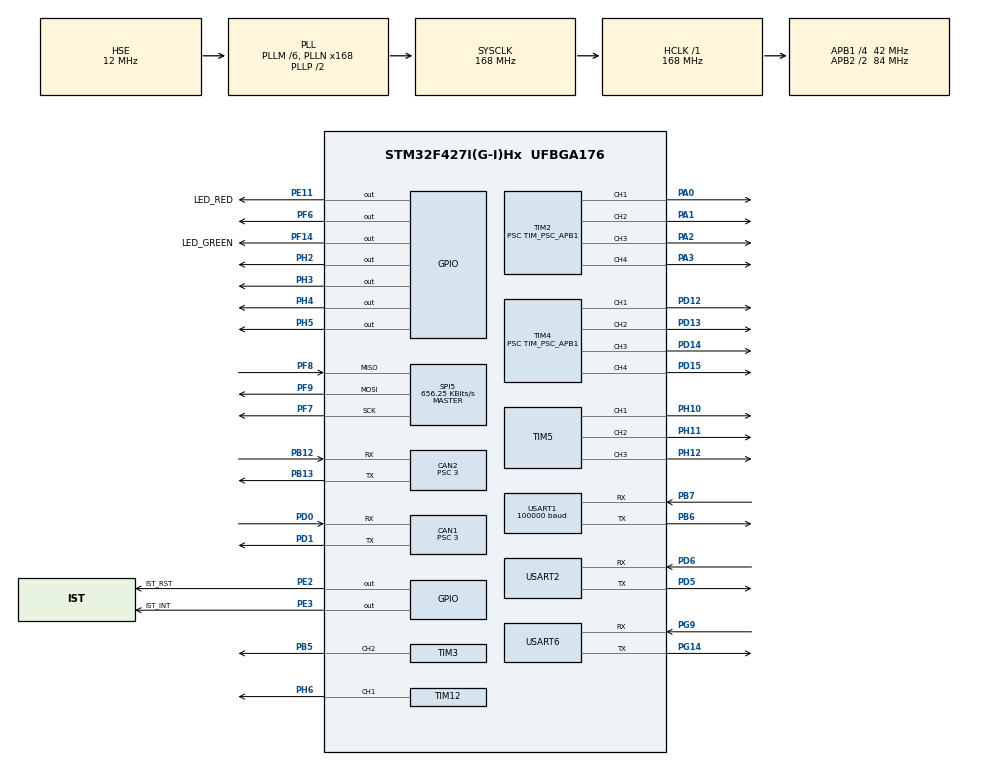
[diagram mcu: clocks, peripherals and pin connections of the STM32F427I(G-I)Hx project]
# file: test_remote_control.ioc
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CAN1.BS1=CAN_BS1_9TQ
CAN1.BS2=CAN_BS2_4TQ
CAN1.CalculateTimeQuantum=71.42857142857143
CAN1.Prescaler=3
CAN2.BS1=CAN_BS1_9TQ
CAN2.BS2=CAN_BS2_4TQ
CAN2.CalculateTimeQuantum=71.42857142857143
CAN2.Prescaler=3
Dma.Request0=USART1_RX
Dma.Request1=USART2_RX
Dma.Request2=USART2_TX
Dma.USART1_RX.0.Direction=DMA_PERIPH_TO_MEMORY
Dma.USART1_RX.0.FIFOMode=DMA_FIFOMODE_DISABLE
Dma.USART1_RX.0.Instance=DMA2_Stream2
Dma.USART1_RX.0.MemDataAlignment=DMA_MDATAALIGN_BYTE
Dma.USART1_RX.0.MemInc=DMA_MINC_ENABLE
Dma.USART1_RX.0.Mode=DMA_CIRCULAR
Dma.USART1_RX.0.PeriphDataAlignment=DMA_PDATAALIGN_BYTE
Dma.USART1_RX.0.PeriphInc=DMA_PINC_DISABLE
Dma.USART1_RX.0.Priority=DMA_PRIORITY_VERY_HIGH
Dma.USART2_RX.1.Direction=DMA_PERIPH_TO_MEMORY
Dma.USART2_RX.1.FIFOMode=DMA_FIFOMODE_DISABLE
Dma.USART2_RX.1.Instance=DMA1_Stream5
Dma.USART2_RX.1.MemDataAlignment=DMA_MDATAALIGN_BYTE
Dma.USART2_RX.1.MemInc=DMA_MINC_ENABLE
Dma.USART2_RX.1.Mode=DMA_NORMAL
Dma.USART2_RX.1.PeriphDataAlignment=DMA_PDATAALIGN_BYTE
Dma.USART2_RX.1.PeriphInc=DMA_PINC_DISABLE
Dma.USART2_RX.1.Priority=DMA_PRIORITY_LOW
Dma.USART2_TX.2.Direction=DMA_MEMORY_TO_PERIPH
Dma.USART2_TX.2.FIFOMode=DMA_FIFOMODE_DISABLE
Dma.USART2_TX.2.Instance=DMA1_Stream6
Dma.USART2_TX.2.MemDataAlignment=DMA_MDATAALIGN_BYTE
Dma.USART2_TX.2.MemInc=DMA_MINC_ENABLE
Dma.USART2_TX.2.Mode=DMA_NORMAL
Dma.USART2_TX.2.PeriphDataAlignment=DMA_PDATAALIGN_BYTE
Dma.USART2_TX.2.PeriphInc=DMA_PINC_DISABLE
Dma.USART2_TX.2.Priority=DMA_PRIORITY_LOW
Mcu.Family=STM32F4
Mcu.Name=STM32F427I(G-I)Hx
Mcu.Package=UFBGA176
Mcu.UserConstants=APB1_TIMER_CLOCKS,84000000;APB2_TIMER_CLOCKS,168000000;PWM_FREQUENCE,50;PWM_RESOLUTION,10000;PWM_DEFAULT_DUTY,1000;TIM_PSC_APB1,((APB1_TIMER_CLOCKS/PWM_FREQUENCE)/PWM_RESOLUTION -1);TIM_PSC_APB2,((APB2_TIMER_CLOCKS/PWM_FREQUENCE)/PWM_RESOLUTION -1)
NVIC.CAN1_RX0_IRQn=true\:0\:0\:false\:false\:true\:true\:true
NVIC.CAN1_TX_IRQn=true\:0\:0\:false\:false\:true\:true\:true
NVIC.CAN2_RX0_IRQn=true\:0\:0\:false\:false\:true\:true\:true
NVIC.CAN2_TX_IRQn=true\:0\:0\:false\:false\:true\:true\:true
NVIC.DMA1_Stream5_IRQn=true\:0\:0\:false\:false\:true\:false\:true
NVIC.DMA1_Stream6_IRQn=true\:0\:0\:false\:false\:true\:false\:true
NVIC.DMA2_Stream2_IRQn=true\:0\:0\:false\:false\:true\:false\:true
NVIC.PriorityGroup=NVIC_PRIORITYGROUP_4
NVIC.USART1_IRQn=true\:0\:0\:false\:false\:true\:true\:true
NVIC.USART2_IRQn=true\:0\:0\:false\:false\:true\:true\:true
NVIC.USART6_IRQn=true\:0\:0\:false\:false\:true\:true\:true
PA0/WKUP.Signal=S_TIM2_CH1_ETR
PA1.Signal=S_TIM2_CH2
PA13.Mode=Serial_Wire
PA13.Signal=SYS_JTMS-SWDIO
PA14.Mode=Serial_Wire
PA14.Signal=SYS_JTCK-SWCLK
PA2.Signal=S_TIM2_CH3
PA3.Signal=S_TIM2_CH4
PB12.Mode=Slave
PB12.Signal=CAN2_RX
PB13.Mode=Slave
PB13.Signal=CAN2_TX
PB5.Signal=S_TIM3_CH2
PB6.Mode=Asynchronous
PB6.Signal=USART1_TX
PB7.Mode=Asynchronous
PB7.Signal=USART1_RX
PD0.Mode=Master
PD0.Signal=CAN1_RX
PD1.Mode=Master
PD1.Signal=CAN1_TX
PD12.Signal=S_TIM4_CH1
PD13.Signal=S_TIM4_CH2
PD14.Signal=S_TIM4_CH3
PD15.Signal=S_TIM4_CH4
PD5.Mode=Asynchronous
PD5.Signal=USART2_TX
PD6.Mode=Asynchronous
PD6.Signal=USART2_RX
PE11.GPIO_Label=LED_RED
PE11.Signal=GPIO_Output
PE2.GPIO_Label=IST_RST
PE2.GPIO_Speed=GPIO_SPEED_FREQ_VERY_HIGH
PE2.Signal=GPIO_Output
PE3.GPIO_Label=IST_INT
PE3.GPIO_Speed=GPIO_SPEED_FREQ_VERY_HIGH
PE3.Signal=GPIO_Output
PF14.GPIO_Label=LED_GREEN
PF14.Signal=GPIO_Output
PF6.Signal=GPIO_Output
PF7.Mode=Full_Duplex_Master
PF7.Signal=SPI5_SCK
PF8.Mode=Full_Duplex_Master
PF8.Signal=SPI5_MISO
PF9.Mode=Full_Duplex_Master
PF9.Signal=SPI5_MOSI
PG14.Mode=Asynchronous
PG14.Signal=USART6_TX
PG9.Mode=Asynchronous
PG9.Signal=USART6_RX
PH0/OSC_IN.Mode=HSE-External-Oscillator
PH0/OSC_IN.Signal=RCC_OSC_IN
PH1/OSC_OUT.Mode=HSE-External-Oscillator
PH1/OSC_OUT.Signal=RCC_OSC_OUT
PH10.Signal=S_TIM5_CH1
PH11.Signal=S_TIM5_CH2
PH12.Signal=S_TIM5_CH3
PH2.Signal=GPIO_Output
PH3.Signal=GPIO_Output
PH4.Signal=GPIO_Output
PH5.Signal=GPIO_Output
PH6.Signal=S_TIM12_CH1
ProjectManager.HeapSize=0x200
ProjectManager.StackSize=0x400
ProjectManager.TargetToolchain=STM32CubeIDE
RCC.48MHZClocksFreq_Value=84000000
RCC.AHBFreq_Value=168000000
RCC.APB1CLKDivider=RCC_HCLK_DIV4
RCC.APB1Freq_Value=42000000
RCC.APB1TimFreq_Value=84000000
RCC.APB2CLKDivider=RCC_HCLK_DIV2
RCC.APB2Freq_Value=84000000
RCC.APB2TimFreq_Value=168000000
RCC.CortexFreq_Value=168000000
RCC.HCLKFreq_Value=168000000
RCC.HSE_VALUE=12000000
RCC.HSI_VALUE=16000000
RCC.LSE_VALUE=32768
RCC.PLLM=6
RCC.PLLN=168
RCC.PLLSourceVirtual=RCC_PLLSOURCE_HSE
RCC.SYSCLKFreq_VALUE=168000000
RCC.SYSCLKSource=RCC_SYSCLKSOURCE_PLLCLK
RCC.VCOOutputFreq_Value=336000000
SH.S_TIM12_CH1.0=TIM12_CH1,PWM Generation1 CH1
SH.S_TIM2_CH1_ETR.0=TIM2_CH1,PWM Generation1 CH1
SH.S_TIM2_CH2.0=TIM2_CH2,PWM Generation2 CH2
SH.S_TIM2_CH3.0=TIM2_CH3,PWM Generation3 CH3
SH.S_TIM2_CH4.0=TIM2_CH4,PWM Generation4 CH4
SH.S_TIM3_CH2.0=TIM3_CH2,PWM Generation2 CH2
SH.S_TIM4_CH1.0=TIM4_CH1,PWM Generation1 CH1
SH.S_TIM4_CH2.0=TIM4_CH2,PWM Generation2 CH2
SH.S_TIM4_CH3.0=TIM4_CH3,PWM Generation3 CH3
SH.S_TIM4_CH4.0=TIM4_CH4,PWM Generation4 CH4
SH.S_TIM5_CH1.0=TIM5_CH1,PWM Generation1 CH1
SH.S_TIM5_CH2.0=TIM5_CH2,PWM Generation2 CH2
SH.S_TIM5_CH3.0=TIM5_CH3,PWM Generation3 CH3
SPI5.BaudRatePrescaler=SPI_BAUDRATEPRESCALER_128
SPI5.CalculateBaudRate=656.25 KBits/s
SPI5.Direction=SPI_DIRECTION_2LINES
SPI5.Mode=SPI_MODE_MASTER
SPI5.VirtualType=VM_MASTER
TIM12.Channel-PWM\ Generation1\ CH1=TIM_CHANNEL_1
TIM12.Period=7777
TIM12.Prescaler=3
TIM2.Channel-PWM\ Generation1\ CH1=TIM_CHANNEL_1
TIM2.Channel-PWM\ Generation2\ CH2=TIM_CHANNEL_2
TIM2.Channel-PWM\ Generation3\ CH3=TIM_CHANNEL_3
TIM2.Channel-PWM\ Generation4\ CH4=TIM_CHANNEL_4
TIM2.Period=PWM_RESOLUTION-1
TIM2.Prescaler=TIM_PSC_APB1
TIM2.Pulse-PWM\ Generation1\ CH1=PWM_DEFAULT_DUTY
TIM2.Pulse-PWM\ Generation2\ CH2=PWM_DEFAULT_DUTY
TIM2.Pulse-PWM\ Generation3\ CH3=PWM_DEFAULT_DUTY
TIM2.Pulse-PWM\ Generation4\ CH4=PWM_DEFAULT_DUTY
TIM3.Channel-PWM\ Generation2\ CH2=TIM_CHANNEL_2
TIM3.Period=4999
TIM3.Prescaler=0
TIM4.Channel-PWM\ Generation1\ CH1=TIM_CHANNEL_1
TIM4.Channel-PWM\ Generation2\ CH2=TIM_CHANNEL_2
TIM4.Channel-PWM\ Generation3\ CH3=TIM_CHANNEL_3
TIM4.Channel-PWM\ Generation4\ CH4=TIM_CHANNEL_4
TIM4.OCMode_PWM-PWM\ Generation4\ CH4=TIM_OCMODE_PWM1
TIM4.Period=PWM_RESOLUTION-1
TIM4.Prescaler=TIM_PSC_APB1
TIM4.Pulse-PWM\ Generation1\ CH1=PWM_DEFAULT_DUTY
TIM4.Pulse-PWM\ Generation2\ CH2=PWM_DEFAULT_DUTY
TIM4.Pulse-PWM\ Generation3\ CH3=PWM_DEFAULT_DUTY
TIM4.Pulse-PWM\ Generation4\ CH4=PWM_DEFAULT_DUTY
TIM5.Channel-PWM\ Generation1\ CH1=TIM_CHANNEL_1
TIM5.Channel-PWM\ Generation2\ CH2=TIM_CHANNEL_2
TIM5.Channel-PWM\ Generation3\ CH3=TIM_CHANNEL_3
USART1.BaudRate=100000
USART1.Parity=PARITY_EVEN
USART1.VirtualMode=VM_ASYNC
USART2.VirtualMode=VM_ASYNC
USART6.VirtualMode=VM_ASYNC
board=custom

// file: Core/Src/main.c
/* USER CODE BEGIN Header */
/**
  ******************************************************************************
  * @file           : main.c
  * @brief          : Main program body
  ******************************************************************************
  * @attention
  *
  * <h2><center>&copy; Copyright (c) 2020 STMicroelectronics.
  * All rights reserved.</center></h2>
  *
  * This software component is licensed by ST under BSD 3-Clause license,
  * the "License"; You may not use this file except in compliance with the
  * License. You may obtain a copy of the License at:
  *                        opensource.org/licenses/BSD-3-Clause
  *
  ******************************************************************************
  */
/* USER CODE END Header */
#include "main.h"

/* USER CODE BEGIN Includes */
#include <stdlib.h>
#include <stdio.h>
#include <math.h>
#include <unistd.h>
#include <time.h>
#include "rm_uart.h"
#include "rm_gpio.h"
#include "rm_can.h"
#include "rm_imu.h"
#include "rm_pwm.h"
#include "rm_ctrl.h"

/* USER CODE END Includes */

/* USER CODE BEGIN PD */
#define INF_2
//#define SENTRY

// default positions
//#define YAW_ECD_DEFAULT (6115)
//#define PIT_ECD_DEFAULT (5350)
#define YAW_ECD_DEFAULT (291)
#define PIT_ECD_DEFAULT (3056)
#define INDEXER_SPEED_DEFAULT 125
#define INIT_TIMER_VALUE 15000
#define YAW_OSCILLATION 750
#define PIT_OSCILLATION 1000
#define PIXEL_TO_ESC 1000

#define DRIVE_LF_ID 1
#define DRIVE_LB_ID 2
#define DRIVE_RF_ID 3
#define DRIVE_RB_ID 4
#define RPM_SCALE 10
#define JOY_TO_RPM (1 / 660.0f) // max 660, 660 / 660.0f = 1 rpm
#define JOY_TO_ECD (4096 / 660.0f) // max 660, 660 * (4096 / 660.0f = 4096
#define DRIVE_SPEED_DEFAULT 450 // 450 rpm
#define FLYWHEEL_OFF_PERCENT (0.4f)
#define FLYWHEEL_ON_PERCENT (0.417f)
#define MOTOR_BOUNDS 4500
#define GIMBAL_RPM_LIMIT 3200

#define DELAY_MS 5
#define PI 3.14159265f

/* USER CODE END PD */

CAN_HandleTypeDef hcan1;
CAN_HandleTypeDef hcan2;

SPI_HandleTypeDef hspi5;

TIM_HandleTypeDef htim2;
TIM_HandleTypeDef htim3;
TIM_HandleTypeDef htim4;
TIM_HandleTypeDef htim5;
TIM_HandleTypeDef htim12;

UART_HandleTypeDef huart1;
UART_HandleTypeDef huart2;
UART_HandleTypeDef huart6;
DMA_HandleTypeDef hdma_usart1_rx;
DMA_HandleTypeDef hdma_usart2_rx;
DMA_HandleTypeDef hdma_usart2_tx;

/* USER CODE BEGIN PV */
char buf[200];
int count;

double minDistance, maxDistance, centerDistance;
unsigned long start_t, current_t, currentCount;

short sentryInit = 0;
short timerInit = 0;
short cvDetected = 0;

double cvX, cvY;
typedef struct {
	struct {
		short LF_rpm,LB_rpm,RF_rpm,RB_rpm;
	} chassis;
	struct {
		short yaw_ecd, pitch_ecd;
		short yaw_rpm, pit_rpm;
		short flywheel_speed;
		float indexer_speed;
		short yaw_ecd_target;
		short pit_ecd_target;
	} gimbal;
	short isKB;
} signal_t;
float radian;
float x;
float y;

signal_t signal;

float imu_yaw_offset = 0;
/* USER CODE END PV */

void SystemClock_Config(void);
static void MX_GPIO_Init(void);
static void MX_DMA_Init(void);
static void MX_CAN1_Init(void);
static void MX_CAN2_Init(void);
static void MX_SPI5_Init(void);
static void MX_TIM2_Init(void);
static void MX_TIM4_Init(void);
static void MX_USART1_UART_Init(void);
static void MX_USART2_UART_Init(void);
static void MX_USART6_UART_Init(void);
static void MX_TIM3_Init(void);
static void MX_TIM12_Init(void);
static void MX_TIM5_Init(void);
/* USER CODE BEGIN PFP */
void processMKB();
void processController();
void processSentry();
/* USER CODE END PFP */

/* USER CODE BEGIN 0 */
void signalInit(signal_t* sig){
	sig->isKB = 0;
	sig->gimbal.yaw_ecd_target = YAW_ECD_DEFAULT;
	sig->gimbal.pit_ecd_target = PIT_ECD_DEFAULT;
}
void processSentry(signal_t* sig){

	current_t = HAL_GetTick();
	double currentESCVal = 0;
	count = 0;
	if (!sentryInit){

		minDistance = 0; //Replace with DOUBLE.MAXVAL
		maxDistance = 0; //Replace with DOUBLE.MINVAL
		cvX = 0;
		cvY = 0;

		if (!timerInit && !sentryInit){
			start_t = HAL_GetTick();
			timerInit = 1;
		}

		//Calibration period for INIT_TIMER_VALUE milliseconds
		if (HAL_GetTick() - start_t < INIT_TIMER_VALUE){

			if (currentESCVal > maxDistance){
				maxDistance = currentESCVal;
			}
			else if (currentESCVal < minDistance){
				minDistance = currentESCVal;
			}
		}
		else {
			sentryInit = 1;
			timerInit = 0;
			centerDistance = maxDistance + minDistance;
		}
	}
	else {
		if (cvDetected){
			sig->gimbal.yaw_ecd = PIXEL_TO_ESC * cvX;
			sig->gimbal.pitch_ecd = PIXEL_TO_ESC * cvY;
		}
		else {

			//sig->gimbal.yaw_ecd = (short)((sin(current_t / 175) * YAW_OSCILLATION));
			sig->gimbal.pitch_ecd = (short)((sin(current_t / 225) * PIT_OSCILLATION) / 3);

			if (current_t % 5000 < 2500){
				sig->gimbal.yaw_ecd = 0;
			}
			else {
				sig->gimbal.yaw_ecd = -YAW_OSCILLATION;
			}

			if (current_t % 12000 < 3000){
				sig->chassis.LF_rpm = (short) (75 * JOY_TO_RPM * RPM_SCALE * DRIVE_SPEED_DEFAULT);
				sig->chassis.RF_rpm = (short) (75 * JOY_TO_RPM * RPM_SCALE * DRIVE_SPEED_DEFAULT);
				sig->chassis.LB_rpm = (short) (75 * JOY_TO_RPM * RPM_SCALE * DRIVE_SPEED_DEFAULT);
				sig->chassis.RB_rpm = (short) (75 * JOY_TO_RPM * RPM_SCALE * DRIVE_SPEED_DEFAULT);
			}
			else if (current_t % 12000 > 3000 && current_t % 12000 < 6000){
				sig->chassis.LF_rpm = (short) (0 * JOY_TO_RPM * RPM_SCALE * DRIVE_SPEED_DEFAULT);
				sig->chassis.RF_rpm = (short) (0 * JOY_TO_RPM * RPM_SCALE * DRIVE_SPEED_DEFAULT);
				sig->chassis.LB_rpm = (short) (0 * JOY_TO_RPM * RPM_SCALE * DRIVE_SPEED_DEFAULT);
				sig->chassis.RB_rpm = (short) (0 * JOY_TO_RPM * RPM_SCALE * DRIVE_SPEED_DEFAULT);
			}
			else if (current_t % 12000 > 6000 && current_t % 12000 < 10000){
				sig->chassis.LF_rpm = (short) (-110 * JOY_TO_RPM * RPM_SCALE * DRIVE_SPEED_DEFAULT);
				sig->chassis.RF_rpm = (short) (-110 * JOY_TO_RPM * RPM_SCALE * DRIVE_SPEED_DEFAULT);
				sig->chassis.LB_rpm = (short) (-110 * JOY_TO_RPM * RPM_SCALE * DRIVE_SPEED_DEFAULT);
				sig->chassis.RB_rpm = (short) (-110 * JOY_TO_RPM * RPM_SCALE * DRIVE_SPEED_DEFAULT);
			}
			else{
				sig->chassis.LF_rpm = (short) (0 * JOY_TO_RPM * RPM_SCALE * DRIVE_SPEED_DEFAULT);
				sig->chassis.RF_rpm = (short) (0 * JOY_TO_RPM * RPM_SCALE * DRIVE_SPEED_DEFAULT);
				sig->chassis.LB_rpm = (short) (0 * JOY_TO_RPM * RPM_SCALE * DRIVE_SPEED_DEFAULT);
				sig->chassis.RB_rpm = (short) (0 * JOY_TO_RPM * RPM_SCALE * DRIVE_SPEED_DEFAULT);
			}
		}
	}
	currentCount++;
}

void processCV(){

}

void processMKB(rc_info_t* rcPtr, signal_t* sig){
	// Axis y-> up, x -> right, motors going forward when pos (left CCW, right CW)
	short kbX = rcPtr->kb.bit.D - rcPtr->kb.bit.A;
	short kbY = rcPtr->kb.bit.W - rcPtr->kb.bit.S;
	short kbRotation = rcPtr->kb.bit.E - rcPtr->kb.bit.Q;
	short mouseLC = rcPtr->mouse.l;
	short mouseRC = rcPtr->mouse.r;
	short mouseSpeedX = rcPtr->mouse.x;
	short mouseSpeedY = rcPtr->mouse.y;

	sig->gimbal.yaw_rpm = fmax(fmin(mouseSpeedX * 10, GIMBAL_RPM_LIMIT), -GIMBAL_RPM_LIMIT);
	sig->gimbal.pit_rpm = fmax(fmin(mouseSpeedY * 10, GIMBAL_RPM_LIMIT), -GIMBAL_RPM_LIMIT);

	sig->gimbal.yaw_ecd += mouseSpeedX * 10;
	sig->gimbal.pitch_ecd += mouseSpeedY * 10;

	if (mouseRC) {
		sig->gimbal.flywheel_speed = (short) (PWM_RESOLUTION * FLYWHEEL_ON_PERCENT);
	} else {
		sig->gimbal.flywheel_speed = (short) (PWM_RESOLUTION * FLYWHEEL_OFF_PERCENT);
	}

	if (mouseLC) {
		sig->gimbal.indexer_speed = INDEXER_SPEED_DEFAULT * RPM_SCALE;
	} else {
		sig->gimbal.indexer_speed = 0 * RPM_SCALE;
	}

	sig->chassis.LF_rpm = (short) ((- kbY + kbX + kbRotation) * RPM_SCALE * DRIVE_SPEED_DEFAULT);
	sig->chassis.RF_rpm = (short) ((kbY + kbX + kbRotation) * RPM_SCALE * DRIVE_SPEED_DEFAULT);
	sig->chassis.LB_rpm = (short) ((- kbY - kbX + kbRotation) * RPM_SCALE * DRIVE_SPEED_DEFAULT);
	sig->chassis.RB_rpm = (short) ((kbY - kbX + kbRotation) * RPM_SCALE * DRIVE_SPEED_DEFAULT);

}

void processController(rc_info_t* rcPtr, signal_t* sig){
	// Axis y-> up, x -> right, motors going forward when pos (left CCW, right CW)
	if (rcPtr->sw1 == 2 && rcPtr->sw2 == 2){
		if (!sig->isKB){ // last time not kb
			// transition from controller to KB
			gimbal_pid_clear();
		}
		sig->isKB = 1;
		return processMKB(rcPtr, sig);
	}
	if (sig->isKB) { // last time kb
		// transition from KB to controller
		gimbal_pid_clear();
	}
	sig->isKB = 0;
	//yaw_ecd = 0;
	//pitch_ecd = 0;
	short joyLeftX = (short)(rcPtr->ch3); // positive direction stay at right
	short joyLeftY = (short)(rcPtr->ch4); // change positive direction to up
	short joyRightX = (short)(rcPtr->ch1); // positive direction stay at right
	short joyRightY = (short)(-rcPtr->ch2); // change positive direction to up
	short baybladeRPM = DRIVE_SPEED_DEFAULT / 2;
	short baybladeRotation = 0;
	// hard coded compensation for yaw motor to rotate
	float compensation = (23.2f / (60.0f * 1000.0f / DELAY_MS)) * ECD_PERIOD;
	switch(rcPtr->sw1){
		case 1: //left up (left stick strafe, right stick bot rotation)
			//joyRotation = joyRightX;
			baybladeRotation = - baybladeRPM;
			sig->gimbal.yaw_ecd -= (short)(joyRightX * JOY_TO_ECD * 0.05f + compensation);
			sig->gimbal.indexer_speed = 0 * RPM_SCALE;
			break;
		case 3: //left middle (left stick strafe, right stick aim)
			sig->gimbal.yaw_ecd -= (short)(joyRightX * JOY_TO_ECD * 0.05f);
			sig->gimbal.indexer_speed = 0 * RPM_SCALE;
			break;
		case 2: // reserve for keyboard
			baybladeRotation = baybladeRPM;
			sig->gimbal.yaw_ecd -= (short)(joyRightX * JOY_TO_ECD * 0.05f - compensation);
			if (rcPtr->sw2 == 1){ // flywheel on
				//sig->gimbal.yaw_ecd += (short)(joyRightX * JOY_TO_ECD * 0.05f);
				sig->gimbal.indexer_speed = INDEXER_SPEED_DEFAULT * RPM_SCALE;
			}
			break;
		default: // when remote not connected
			sig->gimbal.yaw_ecd -= (short)(joyRightX * JOY_TO_ECD * 0.05f);
			sig->gimbal.indexer_speed = 0 * RPM_SCALE;

	}
	switch(rcPtr->sw2){
		case 1:
			sig->gimbal.flywheel_speed = (short) (PWM_RESOLUTION * FLYWHEEL_ON_PERCENT);
			break;
		case 3:
			sig->gimbal.flywheel_speed = (short) (PWM_RESOLUTION * FLYWHEEL_OFF_PERCENT);
			sig->gimbal.indexer_speed = 0 * RPM_SCALE;
			break;
		case 2: // reserve for keyboard
		default: // when remote not connected
			break;

	}
	sig->gimbal.pitch_ecd += (short)((joyRightY * JOY_TO_ECD) * 0.05f); // pitch don't have the same range as yaw, now limit to 20 degrees
	float raw_x = joyLeftX * JOY_TO_RPM * DRIVE_SPEED_DEFAULT;
	float raw_y = joyLeftY * JOY_TO_RPM * DRIVE_SPEED_DEFAULT;

	// change of angle from the original position
	radian = sig->gimbal.yaw_ecd / ECD_PERIOD * 2 * PI;

	// apply rotational matrix
	x = (float) (raw_x * cos(radian) - raw_y * sin(radian));
	y = (float) (raw_x * sin(radian) + raw_y * cos(radian));

	sig->chassis.LF_rpm = (short) ((y + x + baybladeRotation) * RPM_SCALE);
	sig->chassis.RF_rpm = (short) ((-y + x + baybladeRotation) * RPM_SCALE);
	sig->chassis.LB_rpm = (short) ((y - x + baybladeRotation) * RPM_SCALE);
	sig->chassis.RB_rpm = (short) ((-y - x + baybladeRotation) * RPM_SCALE);

}

void outINF(signal_t* sig, CAN_HandleTypeDef *hcan) {
	static int imu_zeroed = 0;
	// output variables
	float yaw_output;
	float pit_output;
	float wheels_output[4];
	float indexer_output;

	signal.gimbal.yaw_ecd_target = mapPeriod(
			YAW_ECD_DEFAULT + signal.gimbal.yaw_ecd, ECD_PERIOD);

	signal.gimbal.pit_ecd_target = mapPeriod(
			PIT_ECD_DEFAULT + signal.gimbal.pitch_ecd, ECD_PERIOD);

	if (signal.isKB){
		//yaw_output = yaw_rpm_pid_ctrl(yaw_rpm);
		//pit_output = pit_rpm_pid_ctrl(pit_rpm);
		//yaw_output = yaw_ecd_cascade_ctrl(yaw_ecd_target);
		//pit_output = pit_ecd_cascade_ctrl(pit_ecd_target);
		yaw_output = yaw_ecd_direct_ctrl(signal.gimbal.yaw_ecd_target);
		pit_output = pit_ecd_direct_ctrl(signal.gimbal.pit_ecd_target);
	} else {
		//yaw_output = yaw_ecd_cascade_ctrl(signal.gimbal.yaw_ecd_target);
		//pit_output = pit_ecd_cascade_ctrl(signal.gimbal.pit_ecd_target);
		int yaw_centered = fabs(motors[4].ecd - YAW_ECD_DEFAULT) < 1;
		if (!imu_zeroed){
			yaw_output = yaw_ecd_direct_ctrl(YAW_ECD_DEFAULT);
			if (yaw_centered){
				imu_yaw_offset = YAW_ECD_DEFAULT * (ANGLE_PERIOD / ECD_PERIOD) - imu.yaw;
			}
		} else {
			float deg_target = signal.gimbal.yaw_ecd_target * (ANGLE_PERIOD / ECD_PERIOD);
			yaw_output = yaw_imu_deg_ctrl(imu.yaw + imu_yaw_offset, deg_target);
		}

		pit_output = pit_ecd_direct_ctrl(signal.gimbal.pit_ecd_target);
	}

	sig->chassis.LF_rpm = fmax(fmin(sig->chassis.LF_rpm,MOTOR_BOUNDS),-MOTOR_BOUNDS);
	sig->chassis.RF_rpm = fmax(fmin(sig->chassis.RF_rpm,MOTOR_BOUNDS),-MOTOR_BOUNDS);
	sig->chassis.LB_rpm = fmax(fmin(sig->chassis.LB_rpm,MOTOR_BOUNDS),-MOTOR_BOUNDS);
	sig->chassis.RB_rpm = fmax(fmin(sig->chassis.RB_rpm,MOTOR_BOUNDS),-MOTOR_BOUNDS);

	wheels_rpm_ctrl_calc(
			signal.chassis.LF_rpm,
			signal.chassis.RF_rpm,
			signal.chassis.LB_rpm,
			signal.chassis.RB_rpm,
			wheels_output);

	indexer_output = indexer_rpm_ctrl_calc(signal.gimbal.indexer_speed);

	can_transmit(hcan, CAN_CHASSIS_ALL_ID,
			wheels_output[0],
			wheels_output[1],
			wheels_output[2],
			wheels_output[3]);

	can_transmit(hcan, CAN_GIMBAL_ALL_ID,
			yaw_output,
			pit_output,
			indexer_output, 0);
	//flywheel_speed = (rc.ch4 / 660.0f + 1) * 1000;
	set_pwm_flywheel(signal.gimbal.flywheel_speed);

}

/* USER CODE END 0 */

int main(void)
{
  /* USER CODE BEGIN 1 */
  count = 0; // keep count in while loop and reset every 10s
  signalInit(&signal);
  /* USER CODE END 1 */

  /* MCU Configuration--------------------------------------------------------*/

  /* Reset of all peripherals, Initializes the Flash interface and the Systick. */
  HAL_Init();

  /* Configure the system clock */
  SystemClock_Config();

  /* Initialize all configured peripherals */
  MX_GPIO_Init();
  MX_DMA_Init();
  MX_CAN1_Init();
  MX_CAN2_Init();
  MX_SPI5_Init();
  MX_TIM2_Init();
  MX_TIM4_Init();
  MX_USART1_UART_Init();
  MX_USART2_UART_Init();
  MX_USART6_UART_Init();
  MX_TIM3_Init();
  MX_TIM12_Init();
  MX_TIM5_Init();
  /* USER CODE BEGIN 2 */

  led_off();
  power_on();
  dbus_uart_init();
  //can_filter_init();
  pwm_imu_start();
  pwm_buzzer_start();

  mpu_device_init();
  init_quaternion();

  pwm_flywheel_start();

  grand_pid_init();
  //imu_calibration();

  /* USER CODE END 2 */

  /* Infinite loop */
  /* USER CODE BEGIN WHILE */
  while (1)
  {
	mpu_get_data();
	imu_ahrs_update();
	imu_attitude_update();
	imu_temp_pid_ctrl(imu.temp, DESIRED_TEMPERATURE);

	// process the inputs from the rc into targets for each pid module
	//processSentry(&signal);
	processController(&rc, &signal);
	processCV();

	//outINF(&signal, &hcan1);

	if (count%100 == 0)
	{
		HAL_GPIO_TogglePin(LED_GREEN_GPIO_Port, LED_GREEN_Pin);
	}

	/* reset count every 10s */
	if (count == 2000)
	{
		count = 0;
	}
	count++;

	HAL_Delay(DELAY_MS);
    /* USER CODE END WHILE */

  }
}

void SystemClock_Config(void)
{
  RCC_OscInitTypeDef RCC_OscInitStruct = {0};
  RCC_ClkInitTypeDef RCC_ClkInitStruct = {0};

  /** Configure the main internal regulator output voltage
  */
  __HAL_RCC_PWR_CLK_ENABLE();
  __HAL_PWR_VOLTAGESCALING_CONFIG(PWR_REGULATOR_VOLTAGE_SCALE1);
  /** Initializes the RCC Oscillators according to the specified parameters
  * in the RCC_OscInitTypeDef structure.
  */
  RCC_OscInitStruct.OscillatorType = RCC_OSCILLATORTYPE_HSE;
  RCC_OscInitStruct.HSEState = RCC_HSE_ON;
  RCC_OscInitStruct.PLL.PLLState = RCC_PLL_ON;
  RCC_OscInitStruct.PLL.PLLSource = RCC_PLLSOURCE_HSE;
  RCC_OscInitStruct.PLL.PLLM = 6;
  RCC_OscInitStruct.PLL.PLLN = 168;
  RCC_OscInitStruct.PLL.PLLP = RCC_PLLP_DIV2;
  RCC_OscInitStruct.PLL.PLLQ = 4;
  if (HAL_RCC_OscConfig(&RCC_OscInitStruct) != HAL_OK)
  {
    Error_Handler();
  }
  /** Initializes the CPU, AHB and APB buses clocks
  */
  RCC_ClkInitStruct.ClockType = RCC_CLOCKTYPE_HCLK|RCC_CLOCKTYPE_SYSCLK
                              |RCC_CLOCKTYPE_PCLK1|RCC_CLOCKTYPE_PCLK2;
  RCC_ClkInitStruct.SYSCLKSource = RCC_SYSCLKSOURCE_PLLCLK;
  RCC_ClkInitStruct.AHBCLKDivider = RCC_SYSCLK_DIV1;
  RCC_ClkInitStruct.APB1CLKDivider = RCC_HCLK_DIV4;
  RCC_ClkInitStruct.APB2CLKDivider = RCC_HCLK_DIV2;

  if (HAL_RCC_ClockConfig(&RCC_ClkInitStruct, FLASH_LATENCY_5) != HAL_OK)
  {
    Error_Handler();
  }
}

static void MX_CAN1_Init(void)
{

  hcan1.Instance = CAN1;
  hcan1.Init.Prescaler = 3;
  hcan1.Init.Mode = CAN_MODE_NORMAL;
  hcan1.Init.SyncJumpWidth = CAN_SJW_1TQ;
  hcan1.Init.TimeSeg1 = CAN_BS1_9TQ;
  hcan1.Init.TimeSeg2 = CAN_BS2_4TQ;
  hcan1.Init.TimeTriggeredMode = DISABLE;
  hcan1.Init.AutoBusOff = DISABLE;
  hcan1.Init.AutoWakeUp = DISABLE;
  hcan1.Init.AutoRetransmission = DISABLE;
  hcan1.Init.ReceiveFifoLocked = DISABLE;
  hcan1.Init.TransmitFifoPriority = DISABLE;
  if (HAL_CAN_Init(&hcan1) != HAL_OK)
  {
    Error_Handler();
  }

}

static void MX_CAN2_Init(void)
{

  hcan2.Instance = CAN2;
  hcan2.Init.Prescaler = 3;
  hcan2.Init.Mode = CAN_MODE_NORMAL;
  hcan2.Init.SyncJumpWidth = CAN_SJW_1TQ;
  hcan2.Init.TimeSeg1 = CAN_BS1_9TQ;
  hcan2.Init.TimeSeg2 = CAN_BS2_4TQ;
  hcan2.Init.TimeTriggeredMode = DISABLE;
  hcan2.Init.AutoBusOff = DISABLE;
  hcan2.Init.AutoWakeUp = DISABLE;
  hcan2.Init.AutoRetransmission = DISABLE;
  hcan2.Init.ReceiveFifoLocked = DISABLE;
  hcan2.Init.TransmitFifoPriority = DISABLE;
  if (HAL_CAN_Init(&hcan2) != HAL_OK)
  {
    Error_Handler();
  }

}

static void MX_SPI5_Init(void)
{

  /* SPI5 parameter configuration*/
  hspi5.Instance = SPI5;
  hspi5.Init.Mode = SPI_MODE_MASTER;
  hspi5.Init.Direction = SPI_DIRECTION_2LINES;
  hspi5.Init.DataSize = SPI_DATASIZE_8BIT;
  hspi5.Init.CLKPolarity = SPI_POLARITY_LOW;
  hspi5.Init.CLKPhase = SPI_PHASE_1EDGE;
  hspi5.Init.NSS = SPI_NSS_SOFT;
  hspi5.Init.BaudRatePrescaler = SPI_BAUDRATEPRESCALER_128;
  hspi5.Init.FirstBit = SPI_FIRSTBIT_MSB;
  hspi5.Init.TIMode = SPI_TIMODE_DISABLE;
  hspi5.Init.CRCCalculation = SPI_CRCCALCULATION_DISABLE;
  hspi5.Init.CRCPolynomial = 10;
  if (HAL_SPI_Init(&hspi5) != HAL_OK)
  {
    Error_Handler();
  }

}

static void MX_TIM2_Init(void)
{

  TIM_MasterConfigTypeDef sMasterConfig = {0};
  TIM_OC_InitTypeDef sConfigOC = {0};

  htim2.Instance = TIM2;
  htim2.Init.Prescaler = TIM_PSC_APB1;
  htim2.Init.CounterMode = TIM_COUNTERMODE_UP;
  htim2.Init.Period = PWM_RESOLUTION-1;
  htim2.Init.ClockDivision = TIM_CLOCKDIVISION_DIV1;
  htim2.Init.AutoReloadPreload = TIM_AUTORELOAD_PRELOAD_DISABLE;
  if (HAL_TIM_PWM_Init(&htim2) != HAL_OK)
  {
    Error_Handler();
  }
  sMasterConfig.MasterOutputTrigger = TIM_TRGO_RESET;
  sMasterConfig.MasterSlaveMode = TIM_MASTERSLAVEMODE_DISABLE;
  if (HAL_TIMEx_MasterConfigSynchronization(&htim2, &sMasterConfig) != HAL_OK)
  {
    Error_Handler();
  }
  sConfigOC.OCMode = TIM_OCMODE_PWM1;
  sConfigOC.Pulse = PWM_DEFAULT_DUTY;
  sConfigOC.OCPolarity = TIM_OCPOLARITY_HIGH;
  sConfigOC.OCFastMode = TIM_OCFAST_DISABLE;
  if (HAL_TIM_PWM_ConfigChannel(&htim2, &sConfigOC, TIM_CHANNEL_1) != HAL_OK)
  {
    Error_Handler();
  }
  if (HAL_TIM_PWM_ConfigChannel(&htim2, &sConfigOC, TIM_CHANNEL_2) != HAL_OK)
  {
    Error_Handler();
  }
  if (HAL_TIM_PWM_ConfigChannel(&htim2, &sConfigOC, TIM_CHANNEL_3) != HAL_OK)
  {
    Error_Handler();
  }
  if (HAL_TIM_PWM_ConfigChannel(&htim2, &sConfigOC, TIM_CHANNEL_4) != HAL_OK)
  {
    Error_Handler();
  }
  HAL_TIM_MspPostInit(&htim2);

}

static void MX_TIM3_Init(void)
{

  TIM_MasterConfigTypeDef sMasterConfig = {0};
  TIM_OC_InitTypeDef sConfigOC = {0};

  htim3.Instance = TIM3;
  htim3.Init.Prescaler = 0;
  htim3.Init.CounterMode = TIM_COUNTERMODE_UP;
  htim3.Init.Period = 4999;
  htim3.Init.ClockDivision = TIM_CLOCKDIVISION_DIV1;
  htim3.Init.AutoReloadPreload = TIM_AUTORELOAD_PRELOAD_DISABLE;
  if (HAL_TIM_PWM_Init(&htim3) != HAL_OK)
  {
    Error_Handler();
  }
  sMasterConfig.MasterOutputTrigger = TIM_TRGO_RESET;
  sMasterConfig.MasterSlaveMode = TIM_MASTERSLAVEMODE_DISABLE;
  if (HAL_TIMEx_MasterConfigSynchronization(&htim3, &sMasterConfig) != HAL_OK)
  {
    Error_Handler();
  }
  sConfigOC.OCMode = TIM_OCMODE_PWM1;
  sConfigOC.Pulse = 0;
  sConfigOC.OCPolarity = TIM_OCPOLARITY_HIGH;
  sConfigOC.OCFastMode = TIM_OCFAST_DISABLE;
  if (HAL_TIM_PWM_ConfigChannel(&htim3, &sConfigOC, TIM_CHANNEL_2) != HAL_OK)
  {
    Error_Handler();
  }
  HAL_TIM_MspPostInit(&htim3);

}

static void MX_TIM4_Init(void)
{

  TIM_MasterConfigTypeDef sMasterConfig = {0};
  TIM_OC_InitTypeDef sConfigOC = {0};

  htim4.Instance = TIM4;
  htim4.Init.Prescaler = TIM_PSC_APB1;
  htim4.Init.CounterMode = TIM_COUNTERMODE_UP;
  htim4.Init.Period = PWM_RESOLUTION-1;
  htim4.Init.ClockDivision = TIM_CLOCKDIVISION_DIV1;
  htim4.Init.AutoReloadPreload = TIM_AUTORELOAD_PRELOAD_DISABLE;
  if (HAL_TIM_PWM_Init(&htim4) != HAL_OK)
  {
    Error_Handler();
  }
  sMasterConfig.MasterOutputTrigger = TIM_TRGO_RESET;
  sMasterConfig.MasterSlaveMode = TIM_MASTERSLAVEMODE_DISABLE;
  if (HAL_TIMEx_MasterConfigSynchronization(&htim4, &sMasterConfig) != HAL_OK)
  {
    Error_Handler();
  }
  sConfigOC.OCMode = TIM_OCMODE_PWM1;
  sConfigOC.Pulse = PWM_DEFAULT_DUTY;
  sConfigOC.OCPolarity = TIM_OCPOLARITY_HIGH;
  sConfigOC.OCFastMode = TIM_OCFAST_DISABLE;
  if (HAL_TIM_PWM_ConfigChannel(&htim4, &sConfigOC, TIM_CHANNEL_1) != HAL_OK)
  {
    Error_Handler();
  }
  if (HAL_TIM_PWM_ConfigChannel(&htim4, &sConfigOC, TIM_CHANNEL_2) != HAL_OK)
  {
    Error_Handler();
  }
  if (HAL_TIM_PWM_ConfigChannel(&htim4, &sConfigOC, TIM_CHANNEL_3) != HAL_OK)
  {
    Error_Handler();
  }
  if (HAL_TIM_PWM_ConfigChannel(&htim4, &sConfigOC, TIM_CHANNEL_4) != HAL_OK)
  {
    Error_Handler();
  }
  HAL_TIM_MspPostInit(&htim4);

}

static void MX_TIM5_Init(void)
{

  TIM_MasterConfigTypeDef sMasterConfig = {0};
  TIM_OC_InitTypeDef sConfigOC = {0};

  htim5.Instance = TIM5;
  htim5.Init.Prescaler = 0;
  htim5.Init.CounterMode = TIM_COUNTERMODE_UP;
  htim5.Init.Period = 4294967295;
  htim5.Init.ClockDivision = TIM_CLOCKDIVISION_DIV1;
  htim5.Init.AutoReloadPreload = TIM_AUTORELOAD_PRELOAD_DISABLE;
  if (HAL_TIM_PWM_Init(&htim5) != HAL_OK)
  {
    Error_Handler();
  }
  sMasterConfig.MasterOutputTrigger = TIM_TRGO_RESET;
  sMasterConfig.MasterSlaveMode = TIM_MASTERSLAVEMODE_DISABLE;
  if (HAL_TIMEx_MasterConfigSynchronization(&htim5, &sMasterConfig) != HAL_OK)
  {
    Error_Handler();
  }
  sConfigOC.OCMode = TIM_OCMODE_PWM1;
  sConfigOC.Pulse = 0;
  sConfigOC.OCPolarity = TIM_OCPOLARITY_HIGH;
  sConfigOC.OCFastMode = TIM_OCFAST_DISABLE;
  if (HAL_TIM_PWM_ConfigChannel(&htim5, &sConfigOC, TIM_CHANNEL_1) != HAL_OK)
  {
    Error_Handler();
  }
  if (HAL_TIM_PWM_ConfigChannel(&htim5, &sConfigOC, TIM_CHANNEL_2) != HAL_OK)
  {
    Error_Handler();
  }
  if (HAL_TIM_PWM_ConfigChannel(&htim5, &sConfigOC, TIM_CHANNEL_3) != HAL_OK)
  {
    Error_Handler();
  }
  HAL_TIM_MspPostInit(&htim5);

}

static void MX_TIM12_Init(void)
{

  TIM_OC_InitTypeDef sConfigOC = {0};

  htim12.Instance = TIM12;
  htim12.Init.Prescaler = 3;
  htim12.Init.CounterMode = TIM_COUNTERMODE_UP;
  htim12.Init.Period = 7777;
  htim12.Init.ClockDivision = TIM_CLOCKDIVISION_DIV1;
  htim12.Init.AutoReloadPreload = TIM_AUTORELOAD_PRELOAD_DISABLE;
  if (HAL_TIM_PWM_Init(&htim12) != HAL_OK)
  {
    Error_Handler();
  }
  sConfigOC.OCMode = TIM_OCMODE_PWM1;
  sConfigOC.Pulse = 0;
  sConfigOC.OCPolarity = TIM_OCPOLARITY_HIGH;
  sConfigOC.OCFastMode = TIM_OCFAST_DISABLE;
  if (HAL_TIM_PWM_ConfigChannel(&htim12, &sConfigOC, TIM_CHANNEL_1) != HAL_OK)
  {
    Error_Handler();
  }
  HAL_TIM_MspPostInit(&htim12);

}

static void MX_USART1_UART_Init(void)
{

  huart1.Instance = USART1;
  huart1.Init.BaudRate = 100000;
  huart1.Init.WordLength = UART_WORDLENGTH_8B;
  huart1.Init.StopBits = UART_STOPBITS_1;
  huart1.Init.Parity = UART_PARITY_EVEN;
  huart1.Init.Mode = UART_MODE_TX_RX;
  huart1.Init.HwFlowCtl = UART_HWCONTROL_NONE;
  huart1.Init.OverSampling = UART_OVERSAMPLING_16;
  if (HAL_UART_Init(&huart1) != HAL_OK)
  {
    Error_Handler();
  }

}

static void MX_USART2_UART_Init(void)
{

  huart2.Instance = USART2;
  huart2.Init.BaudRate = 115200;
  huart2.Init.WordLength = UART_WORDLENGTH_8B;
  huart2.Init.StopBits = UART_STOPBITS_1;
  huart2.Init.Parity = UART_PARITY_NONE;
  huart2.Init.Mode = UART_MODE_TX_RX;
  huart2.Init.HwFlowCtl = UART_HWCONTROL_NONE;
  huart2.Init.OverSampling = UART_OVERSAMPLING_16;
  if (HAL_UART_Init(&huart2) != HAL_OK)
  {
    Error_Handler();
  }

}

static void MX_USART6_UART_Init(void)
{

  huart6.Instance = USART6;
  huart6.Init.BaudRate = 115200;
  huart6.Init.WordLength = UART_WORDLENGTH_8B;
  huart6.Init.StopBits = UART_STOPBITS_1;
  huart6.Init.Parity = UART_PARITY_NONE;
  huart6.Init.Mode = UART_MODE_TX_RX;
  huart6.Init.HwFlowCtl = UART_HWCONTROL_NONE;
  huart6.Init.OverSampling = UART_OVERSAMPLING_16;
  if (HAL_UART_Init(&huart6) != HAL_OK)
  {
    Error_Handler();
  }

}

static void MX_DMA_Init(void)
{

  /* DMA controller clock enable */
  __HAL_RCC_DMA2_CLK_ENABLE();
  __HAL_RCC_DMA1_CLK_ENABLE();

  /* DMA interrupt init */
  /* DMA1_Stream5_IRQn interrupt configuration */
  HAL_NVIC_SetPriority(DMA1_Stream5_IRQn, 0, 0);
  HAL_NVIC_EnableIRQ(DMA1_Stream5_IRQn);
  /* DMA1_Stream6_IRQn interrupt configuration */
  HAL_NVIC_SetPriority(DMA1_Stream6_IRQn, 0, 0);
  HAL_NVIC_EnableIRQ(DMA1_Stream6_IRQn);
  /* DMA2_Stream2_IRQn interrupt configuration */
  HAL_NVIC_SetPriority(DMA2_Stream2_IRQn, 0, 0);
  HAL_NVIC_EnableIRQ(DMA2_Stream2_IRQn);

}

static void MX_GPIO_Init(void)
{
  GPIO_InitTypeDef GPIO_InitStruct = {0};

  /* GPIO Ports Clock Enable */
  __HAL_RCC_GPIOE_CLK_ENABLE();
  __HAL_RCC_GPIOB_CLK_ENABLE();
  __HAL_RCC_GPIOG_CLK_ENABLE();
  __HAL_RCC_GPIOA_CLK_ENABLE();
  __HAL_RCC_GPIOD_CLK_ENABLE();
  __HAL_RCC_GPIOH_CLK_ENABLE();
  __HAL_RCC_GPIOF_CLK_ENABLE();

  /*Configure GPIO pin Output Level */
  HAL_GPIO_WritePin(GPIOE, IST_INT_Pin|IST_RST_Pin|LED_RED_Pin, GPIO_PIN_RESET);

  /*Configure GPIO pin Output Level */
  HAL_GPIO_WritePin(GPIOH, GPIO_PIN_2|GPIO_PIN_3|GPIO_PIN_4|GPIO_PIN_5, GPIO_PIN_RESET);

  /*Configure GPIO pin Output Level */
  HAL_GPIO_WritePin(GPIOF, GPIO_PIN_6|LED_GREEN_Pin, GPIO_PIN_RESET);

  /*Configure GPIO pins : IST_INT_Pin IST_RST_Pin */
  GPIO_InitStruct.Pin = IST_INT_Pin|IST_RST_Pin;
  GPIO_InitStruct.Mode = GPIO_MODE_OUTPUT_PP;
  GPIO_InitStruct.Pull = GPIO_NOPULL;
  GPIO_InitStruct.Speed = GPIO_SPEED_FREQ_VERY_HIGH;
  HAL_GPIO_Init(GPIOE, &GPIO_InitStruct);

  /*Configure GPIO pins : PH2 PH3 PH4 PH5 */
  GPIO_InitStruct.Pin = GPIO_PIN_2|GPIO_PIN_3|GPIO_PIN_4|GPIO_PIN_5;
  GPIO_InitStruct.Mode = GPIO_MODE_OUTPUT_PP;
  GPIO_InitStruct.Pull = GPIO_NOPULL;
  GPIO_InitStruct.Speed = GPIO_SPEED_FREQ_LOW;
  HAL_GPIO_Init(GPIOH, &GPIO_InitStruct);

  /*Configure GPIO pins : PF6 LED_GREEN_Pin */
  GPIO_InitStruct.Pin = GPIO_PIN_6|LED_GREEN_Pin;
  GPIO_InitStruct.Mode = GPIO_MODE_OUTPUT_PP;
  GPIO_InitStruct.Pull = GPIO_NOPULL;
  GPIO_InitStruct.Speed = GPIO_SPEED_FREQ_LOW;
  HAL_GPIO_Init(GPIOF, &GPIO_InitStruct);

  /*Configure GPIO pin : LED_RED_Pin */
  GPIO_InitStruct.Pin = LED_RED_Pin;
  GPIO_InitStruct.Mode = GPIO_MODE_OUTPUT_PP;
  GPIO_InitStruct.Pull = GPIO_NOPULL;
  GPIO_InitStruct.Speed = GPIO_SPEED_FREQ_LOW;
  HAL_GPIO_Init(LED_RED_GPIO_Port, &GPIO_InitStruct);

}

void Error_Handler(void)
{
}

/************************ (C) COPYRIGHT STMicroelectronics *****END OF FILE****/
